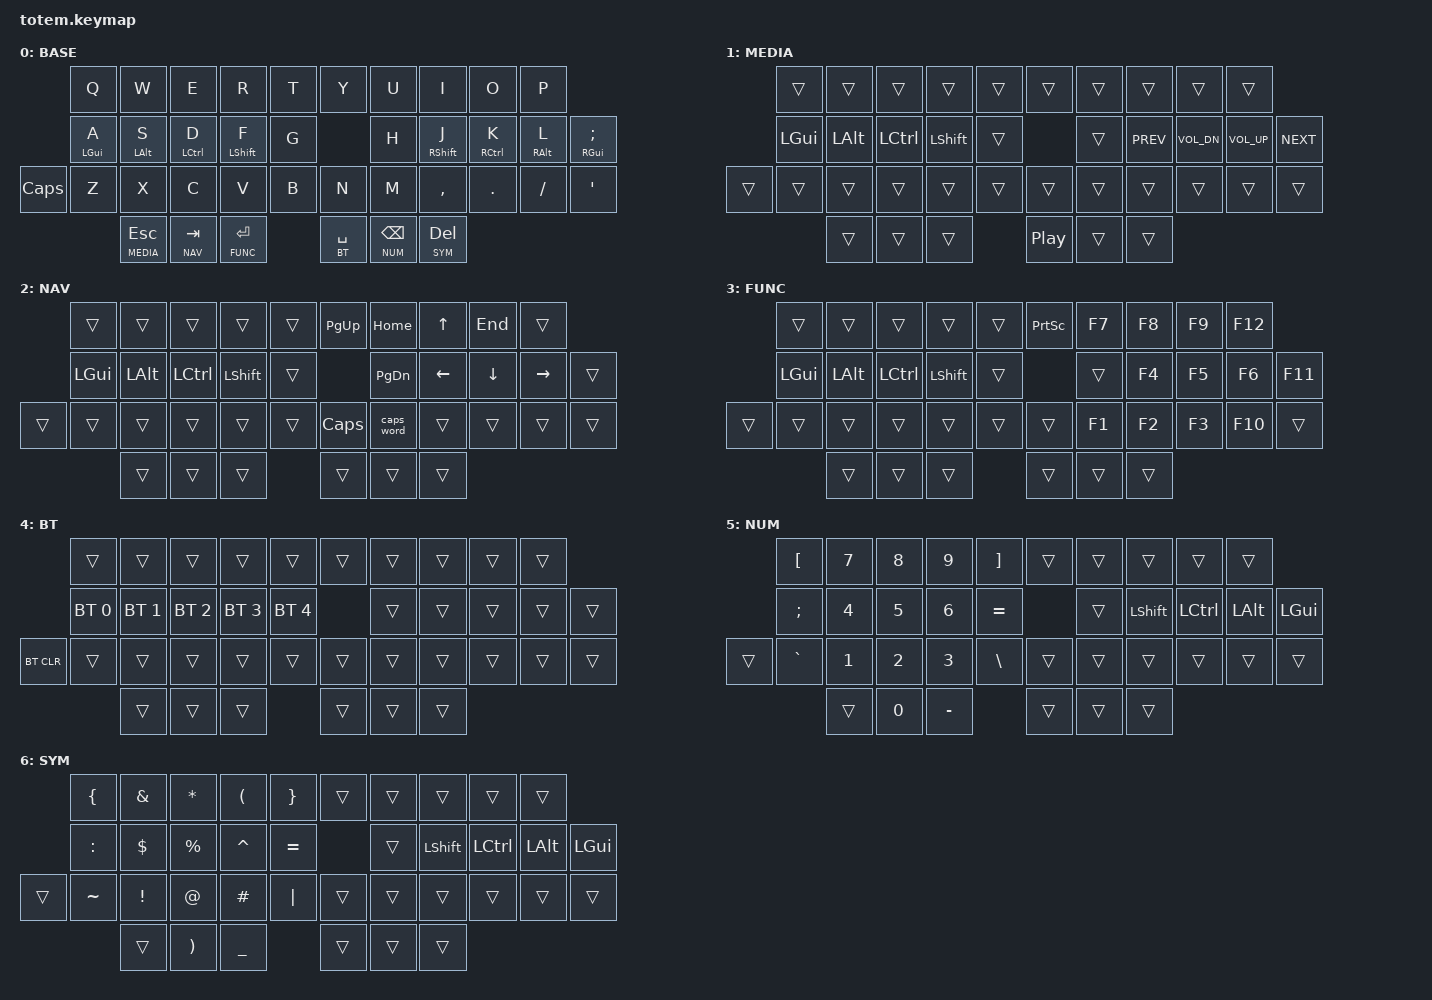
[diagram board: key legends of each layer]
//
//                                                        ▀▀▀▀▀     ▀▀▀▀▀          ▀▀█▀▀
//                                                        ▄▀▀▀▄  ▄  ▄▀▀▀▄  ▄  ▄▀▀▀▄  █  ▄▀▀▀▄
//                                                        █   █  █  █   █  █  █   █  █  █   █
//                                                         ▀▀▀   █   ▀▀▀   █   ▀▀▀   ▀   ▀▀▀
//                                                               █      ▄▄▄█▄▄▄    █   █  
//                                                               ▀      █  █  █     █▄█
//                                                             ▀▀▀▀▀    █  █  █      ▀
//                                                                      ▀  ▀  ▀
//
// ▄▄▄▄▄▄▄▄▄▄▄▄▄▄▄▄▄▄▄▄▄▄▄▄▄▄▄▄▄▄▄▄▄▄▄▄▄▄▄▄▄▄▄▄▄▄▄▄▄▄▄▄▄▄▄▄▄▄▄▄▄▄▄▄▄▄▄▄▄▄▄▄▄▄▄▄▄▄▄▄▄▄▄▄▄▄▄▄▄▄▄▄▄▄▄▄▄▄▄▄▄▄▄▄▄▄▄▄▄▄▄▄▄▄▄▄▄▄▄▄▄▄▄▄▄▄▄▄▄▄▄▄▄▄▄▄▄▄▄▄▄▄▄▄▄▄▄▄▄
       

#include <behaviors.dtsi>
#include <dt-bindings/zmk/keys.h>
#include <dt-bindings/zmk/bt.h>
#include <dt-bindings/zmk/outputs.h>

#define BASE    0
#define MEDIA   1
#define NAV     2
#define FUNC    3
#define BT      4
#define NUM     5
#define SYM     6

&mt {
    compatible = "zmk,behavior-hold-tap";
    quick-tap-ms = <150>;
    global-quick-tap;
    flavor = "tap-preferred";
    tapping-term-ms = <200>;
};

&caps_word {
    continue-list = <UNDERSCORE MINUS>;
};

/ {
    behaviors {
        // Positional Homerow mods
        // Homerow mods that prevent accidental activations when rolling keys,
        // such as when typing `st` or `ne` on colemak-dh layouts or `as` on
        // qwerty.
        //
        // Works by only allowing a mod to activate within tapping-term if
        // it's on the opposite side of the keyboard or on the same side thumb
        // keys.

        // Further optimization using urob's timerless homerow mods method:
        // https://github.com/urob/zmk-config#timeless-homerow-mods
        hm_l: homerow_mods_left {
            compatible = "zmk,behavior-hold-tap";
            #binding-cells = <2>;
            bindings = <&kp>,  <&kp>;

            flavor = "balanced";
            tapping-term-ms = <HM_TAPPING_TERM>;
            quick-tap-ms = <175>;                // repeat on tap-into-hold
            require-prior-idle-ms = <HM_PRIOR_IDLE>;

            hold-trigger-key-positions = <KEYS_R KEYS_T>;
            hold-trigger-on-release;
        };

        hm_r: homerow_mods_right {
            compatible = "zmk,behavior-hold-tap";
            #binding-cells = <2>;
            bindings = <&kp>, <&kp>;

            flavor = "balanced";
            tapping-term-ms = <HM_TAPPING_TERM>;
            quick-tap-ms = <175>;
            require-prior-idle-ms = <HM_PRIOR_IDLE>;

            hold-trigger-key-positions = <KEYS_L KEYS_T>;
            hold-trigger-on-release;
        };


        // Positional Homerow mods for shift
        // Use faster tapping term and disable some features that may
        // cause false negatives.
        hm_shift_l: hm_shift_l {
            compatible = "zmk,behavior-hold-tap";
            #binding-cells = <2>;
            bindings = <&kp>, <&kp>;

            flavor = "balanced";
            tapping-term-ms = <HM_TAPPING_TERM_FAST>;
            quick-tap-ms = <175>;
            require-prior-idle-ms = <HM_PRIOR_IDLE>;

            hold-trigger-key-positions = <KEYS_R KEYS_T>;
            // hold-trigger-on-release;
        };

        hm_shift_r: hm_shift_r {
            compatible = "zmk,behavior-hold-tap";
            #binding-cells = <2>;
            bindings = <&kp>, <&kp>;

            flavor = "balanced";
            tapping-term-ms = <HM_TAPPING_TERM_FAST>;
            quick-tap-ms = <175>;
            require-prior-idle-ms = <HM_PRIOR_IDLE>;

            hold-trigger-key-positions = <KEYS_L KEYS_T>;
            // hold-trigger-on-release;
        };
    };
    
    combos {
        compatible = "zmk,combos";
        combo_esc {
            timeout-ms = <50>;
            key-positions = <0 1>;
            bindings = <&kp ESC>;
        };
    };

    macros {
        gif: gif {
            label = "giphy";
            compatible = "zmk,behavior-macro";
            #binding-cells = <0>;
            bindings
                = <&macro_press &kp LSHFT>
                , <&macro_tap &kp N2>
                , <&macro_release &kp LSHFT>
                , <&macro_tap &kp G &kp I &kp F>
                ;
        };
    };

    keymap {
        compatible = "zmk,keymap";
// ▄▄▄▄▄▄▄▄▄▄▄▄▄▄▄▄▄▄▄▄▄▄▄▄▄▄▄▄▄▄▄▄▄▄▄▄▄▄▄▄▄▄▄▄▄▄▄▄▄▄▄▄▄▄▄▄▄▄▄▄▄▄▄▄▄▄▄▄▄▄▄▄▄▄▄▄▄▄▄▄▄▄▄▄▄▄▄▄▄▄▄▄▄▄▄▄▄▄▄▄▄▄▄▄▄▄▄▄▄▄▄▄▄▄▄▄▄▄▄▄▄▄▄▄▄▄▄▄▄▄▄▄▄▄▄▄▄▄▄▄▄▄▄▄▄▄▄▄▄

                base_layer {
// ┏━━━━━━━━━━━━━━━━━━━━━━━━━━━━━━━━━━━━━━━┓
label= "BASE"                              ;
// ┗━━━━━━━━━━━━━━━━━━━━━━━━━━━━━━━━━━━━━━━┛
//             ┏━━━━━━━━━━━┳━━━━━━━━━━━┳━━━━━━━━━━━┳━━━━━━━━━━━┳━━━━━━━━━━━┓   ┏━━━━━━━━━━━┳━━━━━━━━━━━┳━━━━━━━━━━━┳━━━━━━━━━━━┳━━━━━━━━━━━┓
//             ┃     Q     ┃     W     ┃     E     ┃     R     ┃     T     ┃   ┃     Y     ┃     U     ┃     I     ┃     O     ┃     P     ┃
//             ┣━━━━━━━━━━━╋━━━━━━━━━━━╋━━━━━━━━━━━╋━━━━━━━━━━━╋━━━━━━━━━━━┫   ┣━━━━━━━━━━━╋━━━━━━━━━━━╋━━━━━━━━━━━╋━━━━━━━━━━━╋━━━━━━━━━━━┫
//             ┃     A     ┃     S     ┃     D     ┃     F     ┃     G     ┃   ┃     H     ┃     J     ┃     K     ┃     L     ┃     ;     ┃
// ┏━━━━━━━━━━━╋━━━━━━━━━━━╋━━━━━━━━━━━╋━━━━━━━━━━━╋━━━━━━━━━━━╋━━━━━━━━━━━┫   ┣━━━━━━━━━━━╋━━━━━━━━━━━╋━━━━━━━━━━━╋━━━━━━━━━━━╋━━━━━━━━━━━╋━━━━━━━━━━━┓
// ┃   CAPS    ┃     Z     ┃     X     ┃     C     ┃     V     ┃     B     ┃   ┃     N     ┃     M     ┃     ,     ┃     .     ┃     /     ┃     '     ┃
// ┗━━━━━━━━━━━┻━━━━━━━━━━━┻━━━━━━━━━━━╋━━━━━━━━━━━╋━━━━━━━━━━━╋━━━━━━━━━━━┫   ┣━━━━━━━━━━━╋━━━━━━━━━━━╋━━━━━━━━━━━╋━━━━━━━━━━━┻━━━━━━━━━━━┻━━━━━━━━━━━┛
//                                     ┃    ESC    ┃    TAB    ┃   ENTER   ┃   ┃   SPACE   ┃   BSPC    ┃    DEL    ┃
//                                     ┗━━━━━━━━━━━┻━━━━━━━━━━━┻━━━━━━━━━━━┛   ┗━━━━━━━━━━━┻━━━━━━━━━━━┻━━━━━━━━━━━┛
 bindings = <
// ╷           ╷           ╷           ╷           ╷           ╷           ╷   ╷           ╷           ╷           ╷           ╷           ╷           ╷

                &kp Q       &kp W       &kp E       &kp R       &kp T           &kp Y       &kp U       &kp I       &kp O       &kp P
                &hm_l LGUI A &hm_l LALT S &hm_l LCTRL D &hm_shift_l LSHFT F &kp G     &kp H       &hm_shift_r RSHFT J &hm_r RCTRL K &hm_r RALT L  &hm_r RGUI SEMI
    &kp CAPS    &kp Z       &kp X       &kp C       &kp V       &kp B           &kp N       &kp M       &kp COMMA   &kp DOT     &kp FSLH    &kp SQT
                                &lt MEDIA ESC   &lt NAV TAB   &lt FUNC RET      &lt BT SPACE  &lt NUM BSPC   &lt SYM DEL
                        >;
                };

// ▄▄▄▄▄▄▄▄▄▄▄▄▄▄▄▄▄▄▄▄▄▄▄▄▄▄▄▄▄▄▄▄▄▄▄▄▄▄▄▄▄▄▄▄▄▄▄▄▄▄▄▄▄▄▄▄▄▄▄▄▄▄▄▄▄▄▄▄▄▄▄▄▄▄▄▄▄▄▄▄▄▄▄▄▄▄▄▄▄▄▄▄▄▄▄▄▄▄▄▄▄▄▄▄▄▄▄▄▄▄▄▄▄▄▄▄▄▄▄▄▄▄▄▄▄▄▄▄▄▄▄▄▄▄▄▄▄▄▄▄▄▄▄▄▄▄▄▄▄


                media_layer {
// ┏━━━━━━━━━━━━━━━━━━━━━━━━━━━━━━━━━━━━━━━┓
label= "MEDIA"                             ;
// ┗━━━━━━━━━━━━━━━━━━━━━━━━━━━━━━━━━━━━━━━┛
//             ┏━━━━━━━━━━━┳━━━━━━━━━━━┳━━━━━━━━━━━┳━━━━━━━━━━━┳━━━━━━━━━━━┓   ┏━━━━━━━━━━━┳━━━━━━━━━━━┳━━━━━━━━━━━┳━━━━━━━━━━━┳━━━━━━━━━━━┓
//             ┃           ┃           ┃           ┃           ┃           ┃   ┃           ┃           ┃           ┃           ┃           ┃
//             ┣━━━━━━━━━━━╋━━━━━━━━━━━╋━━━━━━━━━━━╋━━━━━━━━━━━╋━━━━━━━━━━━┫   ┣━━━━━━━━━━━╋━━━━━━━━━━━╋━━━━━━━━━━━╋━━━━━━━━━━━╋━━━━━━━━━━━┫
//             ┃   LGUI    ┃   LALT    ┃   LCTRL   ┃   LSHFT   ┃           ┃   ┃           ┃   PREV    ┃   VOLD    ┃   VOLU    ┃   NEXT    ┃
// ┏━━━━━━━━━━━╋━━━━━━━━━━━╋━━━━━━━━━━━╋━━━━━━━━━━━╋━━━━━━━━━━━╋━━━━━━━━━━━┫   ┣━━━━━━━━━━━╋━━━━━━━━━━━╋━━━━━━━━━━━╋━━━━━━━━━━━╋━━━━━━━━━━━╋━━━━━━━━━━━┓
// ┃           ┃           ┃           ┃           ┃           ┃           ┃   ┃           ┃           ┃           ┃           ┃           ┃           ┃
// ┗━━━━━━━━━━━┻━━━━━━━━━━━┻━━━━━━━━━━━╋━━━━━━━━━━━╋━━━━━━━━━━━╋━━━━━━━━━━━┫   ┣━━━━━━━━━━━╋━━━━━━━━━━━╋━━━━━━━━━━━╋━━━━━━━━━━━┻━━━━━━━━━━━┻━━━━━━━━━━━┛
//                                     ┃           ┃           ┃           ┃   ┃   P/P     ┃           ┃           ┃
//                                     ┗━━━━━━━━━━━┻━━━━━━━━━━━┻━━━━━━━━━━━┛   ┗━━━━━━━━━━━┻━━━━━━━━━━━┻━━━━━━━━━━━┛
 bindings = <
// ╷           ╷           ╷           ╷           ╷           ╷           ╷   ╷           ╷           ╷           ╷           ╷           ╷           ╷

                &trans     &trans      &trans      &trans      &trans          &trans      &trans      &trans       &trans       &trans
                &kp LGUI   &kp LALT    &kp LCTRL   &kp LSHFT   &trans          &trans      &kp C_PREV  &kp C_VOL_DN &kp C_VOL_UP &kp C_NEXT
    &trans      &trans     &trans      &trans      &trans      &trans          &trans      &trans      &trans       &trans       &trans     &trans      
                                       &trans      &trans      &trans          &kp C_PP    &trans      &trans      
                        >;
                };

// ▄▄▄▄▄▄▄▄▄▄▄▄▄▄▄▄▄▄▄▄▄▄▄▄▄▄▄▄▄▄▄▄▄▄▄▄▄▄▄▄▄▄▄▄▄▄▄▄▄▄▄▄▄▄▄▄▄▄▄▄▄▄▄▄▄▄▄▄▄▄▄▄▄▄▄▄▄▄▄▄▄▄▄▄▄▄▄▄▄▄▄▄▄▄▄▄▄▄▄▄▄▄▄▄▄▄▄▄▄▄▄▄▄▄▄▄▄▄▄▄▄▄▄▄▄▄▄▄▄▄▄▄▄▄▄▄▄▄▄▄▄▄▄▄▄▄▄▄▄


                nav_layer {
// ┏━━━━━━━━━━━━━━━━━━━━━━━━━━━━━━━━━━━━━━━┓
label= "NAV"                               ;
// ┗━━━━━━━━━━━━━━━━━━━━━━━━━━━━━━━━━━━━━━━┛
//             ┏━━━━━━━━━━━┳━━━━━━━━━━━┳━━━━━━━━━━━┳━━━━━━━━━━━┳━━━━━━━━━━━┓   ┏━━━━━━━━━━━┳━━━━━━━━━━━┳━━━━━━━━━━━┳━━━━━━━━━━━┳━━━━━━━━━━━┓
//             ┃           ┃           ┃           ┃           ┃           ┃   ┃   PG_UP   ┃   HOME    ┃     UP    ┃    END    ┃           ┃
//             ┣━━━━━━━━━━━╋━━━━━━━━━━━╋━━━━━━━━━━━╋━━━━━━━━━━━╋━━━━━━━━━━━┫   ┣━━━━━━━━━━━╋━━━━━━━━━━━╋━━━━━━━━━━━╋━━━━━━━━━━━╋━━━━━━━━━━━┫
//             ┃   LGUI    ┃   LALT    ┃   LCTRL   ┃   LSHFT   ┃           ┃   ┃   PG_DN   ┃   LEFT    ┃   DOWN    ┃   RIGHT   ┃           ┃
// ┏━━━━━━━━━━━╋━━━━━━━━━━━╋━━━━━━━━━━━╋━━━━━━━━━━━╋━━━━━━━━━━━╋━━━━━━━━━━━┫   ┣━━━━━━━━━━━╋━━━━━━━━━━━╋━━━━━━━━━━━╋━━━━━━━━━━━╋━━━━━━━━━━━╋━━━━━━━━━━━┓
// ┃           ┃           ┃           ┃           ┃           ┃           ┃   ┃   CAPS    ┃           ┃           ┃           ┃           ┃           ┃
// ┗━━━━━━━━━━━┻━━━━━━━━━━━┻━━━━━━━━━━━╋━━━━━━━━━━━╋━━━━━━━━━━━╋━━━━━━━━━━━┫   ┣━━━━━━━━━━━╋━━━━━━━━━━━╋━━━━━━━━━━━╋━━━━━━━━━━━┻━━━━━━━━━━━┻━━━━━━━━━━━┛
//                                     ┃           ┃           ┃           ┃   ┃           ┃           ┃           ┃
//                                     ┗━━━━━━━━━━━┻━━━━━━━━━━━┻━━━━━━━━━━━┛   ┗━━━━━━━━━━━┻━━━━━━━━━━━┻━━━━━━━━━━━┛
 bindings = <
// ╷           ╷           ╷           ╷           ╷           ╷           ╷   ╷           ╷           ╷           ╷           ╷           ╷           ╷

                &trans     &trans      &trans      &trans      &trans          &kp PG_UP    &kp HOME    &kp UP      &kp END     &trans
                &kp LGUI   &kp LALT    &kp LCTRL   &kp LSHFT   &trans          &kp PG_DN    &kp LEFT    &kp DOWN    &kp RIGHT   &trans
    &trans      &trans     &trans      &trans      &trans      &trans          &kp CAPS     &caps_word  &trans      &trans      &trans      &trans      
                                       &trans      &trans      &trans          &trans       &trans      &trans      
                        >;
                };

// ▄▄▄▄▄▄▄▄▄▄▄▄▄▄▄▄▄▄▄▄▄▄▄▄▄▄▄▄▄▄▄▄▄▄▄▄▄▄▄▄▄▄▄▄▄▄▄▄▄▄▄▄▄▄▄▄▄▄▄▄▄▄▄▄▄▄▄▄▄▄▄▄▄▄▄▄▄▄▄▄▄▄▄▄▄▄▄▄▄▄▄▄▄▄▄▄▄▄▄▄▄▄▄▄▄▄▄▄▄▄▄▄▄▄▄▄▄▄▄▄▄▄▄▄▄▄▄▄▄▄▄▄▄▄▄▄▄▄▄▄▄▄▄▄▄▄▄▄▄


                func_layer {
// ┏━━━━━━━━━━━━━━━━━━━━━━━━━━━━━━━━━━━━━━━┓
label= "FUNC"                              ;
// ┗━━━━━━━━━━━━━━━━━━━━━━━━━━━━━━━━━━━━━━━┛
//             ┏━━━━━━━━━━━┳━━━━━━━━━━━┳━━━━━━━━━━━┳━━━━━━━━━━━┳━━━━━━━━━━━┓   ┏━━━━━━━━━━━┳━━━━━━━━━━━┳━━━━━━━━━━━┳━━━━━━━━━━━┳━━━━━━━━━━━┓
//             ┃           ┃           ┃           ┃           ┃           ┃   ┃   PSCRN   ┃    F7     ┃    F8     ┃    F9     ┃    F12    ┃
//             ┣━━━━━━━━━━━╋━━━━━━━━━━━╋━━━━━━━━━━━╋━━━━━━━━━━━╋━━━━━━━━━━━┫   ┣━━━━━━━━━━━╋━━━━━━━━━━━╋━━━━━━━━━━━╋━━━━━━━━━━━╋━━━━━━━━━━━┫
//             ┃   LGUI    ┃   LALT    ┃   LCTRL   ┃   LSHFT   ┃           ┃   ┃           ┃    F4     ┃    F5     ┃    F6     ┃    F11    ┃
// ┏━━━━━━━━━━━╋━━━━━━━━━━━╋━━━━━━━━━━━╋━━━━━━━━━━━╋━━━━━━━━━━━╋━━━━━━━━━━━┫   ┣━━━━━━━━━━━╋━━━━━━━━━━━╋━━━━━━━━━━━╋━━━━━━━━━━━╋━━━━━━━━━━━╋━━━━━━━━━━━┓
// ┃           ┃           ┃           ┃           ┃           ┃           ┃   ┃           ┃    F1     ┃    F2     ┃    F3     ┃    F10    ┃           ┃
// ┗━━━━━━━━━━━┻━━━━━━━━━━━┻━━━━━━━━━━━╋━━━━━━━━━━━╋━━━━━━━━━━━╋━━━━━━━━━━━┫   ┣━━━━━━━━━━━╋━━━━━━━━━━━╋━━━━━━━━━━━╋━━━━━━━━━━━┻━━━━━━━━━━━┻━━━━━━━━━━━┛
//                                     ┃           ┃           ┃           ┃   ┃           ┃           ┃           ┃
//                                     ┗━━━━━━━━━━━┻━━━━━━━━━━━┻━━━━━━━━━━━┛   ┗━━━━━━━━━━━┻━━━━━━━━━━━┻━━━━━━━━━━━┛
 bindings = <
// ╷           ╷           ╷           ╷           ╷           ╷           ╷   ╷           ╷           ╷           ╷           ╷           ╷           ╷

                &trans     &trans      &trans      &trans      &trans          &kp PSCRN   &kp F7      &kp F8      &kp F9      &kp F12
                &kp LGUI   &kp LALT    &kp LCTRL   &kp LSHFT   &trans          &trans      &kp F4      &kp F5      &kp F6      &kp F11
    &trans      &trans     &trans      &trans      &trans      &trans          &trans      &kp F1      &kp F2      &kp F3      &kp F10      &trans      
                                       &trans      &trans      &trans          &trans      &trans      &trans      
                        >;
                };

// ▄▄▄▄▄▄▄▄▄▄▄▄▄▄▄▄▄▄▄▄▄▄▄▄▄▄▄▄▄▄▄▄▄▄▄▄▄▄▄▄▄▄▄▄▄▄▄▄▄▄▄▄▄▄▄▄▄▄▄▄▄▄▄▄▄▄▄▄▄▄▄▄▄▄▄▄▄▄▄▄▄▄▄▄▄▄▄▄▄▄▄▄▄▄▄▄▄▄▄▄▄▄▄▄▄▄▄▄▄▄▄▄▄▄▄▄▄▄▄▄▄▄▄▄▄▄▄▄▄▄▄▄▄▄▄▄▄▄▄▄▄▄▄▄▄▄▄▄▄


                bt_layer {
// ┏━━━━━━━━━━━━━━━━━━━━━━━━━━━━━━━━━━━━━━━┓
label= "BT"                                ;
// ┗━━━━━━━━━━━━━━━━━━━━━━━━━━━━━━━━━━━━━━━┛
//             ┏━━━━━━━━━━━┳━━━━━━━━━━━┳━━━━━━━━━━━┳━━━━━━━━━━━┳━━━━━━━━━━━┓   ┏━━━━━━━━━━━┳━━━━━━━━━━━┳━━━━━━━━━━━┳━━━━━━━━━━━┳━━━━━━━━━━━┓
//             ┃           ┃           ┃           ┃           ┃           ┃   ┃           ┃           ┃           ┃           ┃           ┃
//             ┣━━━━━━━━━━━╋━━━━━━━━━━━╋━━━━━━━━━━━╋━━━━━━━━━━━╋━━━━━━━━━━━┫   ┣━━━━━━━━━━━╋━━━━━━━━━━━╋━━━━━━━━━━━╋━━━━━━━━━━━╋━━━━━━━━━━━┫
//             ┃   BT_0    ┃   BT_1    ┃   BT_2    ┃   BT_3    ┃   BT_4    ┃   ┃           ┃           ┃           ┃           ┃           ┃
// ┏━━━━━━━━━━━╋━━━━━━━━━━━╋━━━━━━━━━━━╋━━━━━━━━━━━╋━━━━━━━━━━━╋━━━━━━━━━━━┫   ┣━━━━━━━━━━━╋━━━━━━━━━━━╋━━━━━━━━━━━╋━━━━━━━━━━━╋━━━━━━━━━━━╋━━━━━━━━━━━┓
// ┃  BT_CLR   ┃           ┃           ┃           ┃           ┃           ┃   ┃           ┃           ┃           ┃           ┃           ┃           ┃
// ┗━━━━━━━━━━━┻━━━━━━━━━━━┻━━━━━━━━━━━╋━━━━━━━━━━━╋━━━━━━━━━━━╋━━━━━━━━━━━┫   ┣━━━━━━━━━━━╋━━━━━━━━━━━╋━━━━━━━━━━━╋━━━━━━━━━━━┻━━━━━━━━━━━┻━━━━━━━━━━━┛
//                                     ┃           ┃           ┃           ┃   ┃           ┃           ┃           ┃
//                                     ┗━━━━━━━━━━━┻━━━━━━━━━━━┻━━━━━━━━━━━┛   ┗━━━━━━━━━━━┻━━━━━━━━━━━┻━━━━━━━━━━━┛
 bindings = <
// ╷           ╷           ╷           ╷           ╷           ╷           ╷   ╷           ╷           ╷           ╷           ╷           ╷           ╷

                &trans       &trans      &trans      &trans      &trans          &trans      &trans      &trans      &trans      &trans
            &bt BT_SEL 0 &bt BT_SEL 1 &bt BT_SEL 2 &bt BT_SEL 3 &bt BT_SEL 4     &trans      &trans      &trans      &trans      &trans
    &bt BT_CLR  &trans       &trans      &trans      &trans      &trans          &trans      &trans      &trans      &trans      &trans      &trans      
                                        &trans      &trans      &trans          &trans      &trans      &trans      
                        >;
                };

// ▄▄▄▄▄▄▄▄▄▄▄▄▄▄▄▄▄▄▄▄▄▄▄▄▄▄▄▄▄▄▄▄▄▄▄▄▄▄▄▄▄▄▄▄▄▄▄▄▄▄▄▄▄▄▄▄▄▄▄▄▄▄▄▄▄▄▄▄▄▄▄▄▄▄▄▄▄▄▄▄▄▄▄▄▄▄▄▄▄▄▄▄▄▄▄▄▄▄▄▄▄▄▄▄▄▄▄▄▄▄▄▄▄▄▄▄▄▄▄▄▄▄▄▄▄▄▄▄▄▄▄▄▄▄▄▄▄▄▄▄▄▄▄▄▄▄▄▄▄


                num_layer {
// ┏━━━━━━━━━━━━━━━━━━━━━━━━━━━━━━━━━━━━━━━┓
label= "NUM"                               ;
// ┗━━━━━━━━━━━━━━━━━━━━━━━━━━━━━━━━━━━━━━━┛
//             ┏━━━━━━━━━━━┳━━━━━━━━━━━┳━━━━━━━━━━━┳━━━━━━━━━━━┳━━━━━━━━━━━┓   ┏━━━━━━━━━━━┳━━━━━━━━━━━┳━━━━━━━━━━━┳━━━━━━━━━━━┳━━━━━━━━━━━┓
//             ┃     [     ┃     7     ┃     8     ┃     9     ┃     ]     ┃   ┃           ┃           ┃           ┃           ┃           ┃
//             ┣━━━━━━━━━━━╋━━━━━━━━━━━╋━━━━━━━━━━━╋━━━━━━━━━━━╋━━━━━━━━━━━┫   ┣━━━━━━━━━━━╋━━━━━━━━━━━╋━━━━━━━━━━━╋━━━━━━━━━━━╋━━━━━━━━━━━┫
//             ┃     ;     ┃     4     ┃     5     ┃     6     ┃     =     ┃   ┃           ┃   LSHFT   ┃   LCTRL   ┃   LALT    ┃   LGUI    ┃
// ┏━━━━━━━━━━━╋━━━━━━━━━━━╋━━━━━━━━━━━╋━━━━━━━━━━━╋━━━━━━━━━━━╋━━━━━━━━━━━┫   ┣━━━━━━━━━━━╋━━━━━━━━━━━╋━━━━━━━━━━━╋━━━━━━━━━━━╋━━━━━━━━━━━╋━━━━━━━━━━━┓
// ┃           ┃     `     ┃     1     ┃     2     ┃     3     ┃     \     ┃   ┃           ┃           ┃           ┃           ┃           ┃           ┃
// ┗━━━━━━━━━━━┻━━━━━━━━━━━┻━━━━━━━━━━━╋━━━━━━━━━━━╋━━━━━━━━━━━╋━━━━━━━━━━━┫   ┣━━━━━━━━━━━╋━━━━━━━━━━━╋━━━━━━━━━━━╋━━━━━━━━━━━┻━━━━━━━━━━━┻━━━━━━━━━━━┛
//                                     ┃           ┃     0     ┃     -     ┃   ┃           ┃           ┃           ┃
//                                     ┗━━━━━━━━━━━┻━━━━━━━━━━━┻━━━━━━━━━━━┛   ┗━━━━━━━━━━━┻━━━━━━━━━━━┻━━━━━━━━━━━┛
 bindings = <
// ╷           ╷           ╷           ╷           ╷           ╷           ╷   ╷           ╷           ╷           ╷           ╷           ╷           ╷

                &kp LBKT    &kp N7      &kp N8      &kp N9      &kp RBKT        &trans      &trans      &trans      &trans      &trans
                &kp SEMI    &kp N4      &kp N5      &kp N6      &kp EQUAL       &trans      &kp LSHFT   &kp LCTRL   &kp LALT    &kp LGUI
    &trans      &kp GRAVE   &kp N1      &kp N2      &kp N3      &kp BSLH        &trans      &trans      &trans      &trans      &trans      &trans      
                                        &trans      &kp N0      &kp MINUS       &trans      &trans      &trans      
                        >;
                };

// ▄▄▄▄▄▄▄▄▄▄▄▄▄▄▄▄▄▄▄▄▄▄▄▄▄▄▄▄▄▄▄▄▄▄▄▄▄▄▄▄▄▄▄▄▄▄▄▄▄▄▄▄▄▄▄▄▄▄▄▄▄▄▄▄▄▄▄▄▄▄▄▄▄▄▄▄▄▄▄▄▄▄▄▄▄▄▄▄▄▄▄▄▄▄▄▄▄▄▄▄▄▄▄▄▄▄▄▄▄▄▄▄▄▄▄▄▄▄▄▄▄▄▄▄▄▄▄▄▄▄▄▄▄▄▄▄▄▄▄▄▄▄▄▄▄▄▄▄▄


                sym_layer {
// ┏━━━━━━━━━━━━━━━━━━━━━━━━━━━━━━━━━━━━━━━┓
label= "SYM"                               ;
// ┗━━━━━━━━━━━━━━━━━━━━━━━━━━━━━━━━━━━━━━━┛
//             ┏━━━━━━━━━━━┳━━━━━━━━━━━┳━━━━━━━━━━━┳━━━━━━━━━━━┳━━━━━━━━━━━┓   ┏━━━━━━━━━━━┳━━━━━━━━━━━┳━━━━━━━━━━━┳━━━━━━━━━━━┳━━━━━━━━━━━┓
//             ┃     {     ┃     &     ┃     *     ┃     (     ┃     }     ┃   ┃           ┃           ┃           ┃           ┃           ┃
//             ┣━━━━━━━━━━━╋━━━━━━━━━━━╋━━━━━━━━━━━╋━━━━━━━━━━━╋━━━━━━━━━━━┫   ┣━━━━━━━━━━━╋━━━━━━━━━━━╋━━━━━━━━━━━╋━━━━━━━━━━━╋━━━━━━━━━━━┫
//             ┃     ;     ┃     $     ┃     %     ┃     ^     ┃     +     ┃   ┃           ┃   LSHFT   ┃   LCTRL   ┃   LALT    ┃   LGUI    ┃
// ┏━━━━━━━━━━━╋━━━━━━━━━━━╋━━━━━━━━━━━╋━━━━━━━━━━━╋━━━━━━━━━━━╋━━━━━━━━━━━┫   ┣━━━━━━━━━━━╋━━━━━━━━━━━╋━━━━━━━━━━━╋━━━━━━━━━━━╋━━━━━━━━━━━╋━━━━━━━━━━━┓
// ┃           ┃     ~     ┃     !     ┃     @     ┃     #     ┃     |     ┃   ┃           ┃           ┃           ┃           ┃           ┃           ┃
// ┗━━━━━━━━━━━┻━━━━━━━━━━━┻━━━━━━━━━━━╋━━━━━━━━━━━╋━━━━━━━━━━━╋━━━━━━━━━━━┫   ┣━━━━━━━━━━━╋━━━━━━━━━━━╋━━━━━━━━━━━╋━━━━━━━━━━━┻━━━━━━━━━━━┻━━━━━━━━━━━┛
//                                     ┃           ┃     )     ┃     _     ┃   ┃           ┃           ┃           ┃
//                                     ┗━━━━━━━━━━━┻━━━━━━━━━━━┻━━━━━━━━━━━┛   ┗━━━━━━━━━━━┻━━━━━━━━━━━┻━━━━━━━━━━━┛
 bindings = <
// ╷           ╷           ╷           ╷           ╷           ╷           ╷   ╷           ╷           ╷           ╷           ╷           ╷           ╷

                &kp LBRC    &kp AMPS    &kp ASTRK   &kp LPAR    &kp RBRC        &trans      &trans      &trans      &trans      &trans
                &kp COLON   &kp DOLLAR  &kp PRCNT   &kp CARET   &kp EQUAL       &trans      &kp LSHFT   &kp LCTRL   &kp LALT    &kp LGUI
    &trans      &kp TILDE   &kp EXCL    &kp AT      &kp HASH    &kp PIPE        &trans      &trans      &trans      &trans      &trans      &trans      
                                        &trans      &kp RPAR    &kp UNDER       &trans      &trans      &trans      
                        >;
                };
        };
};
